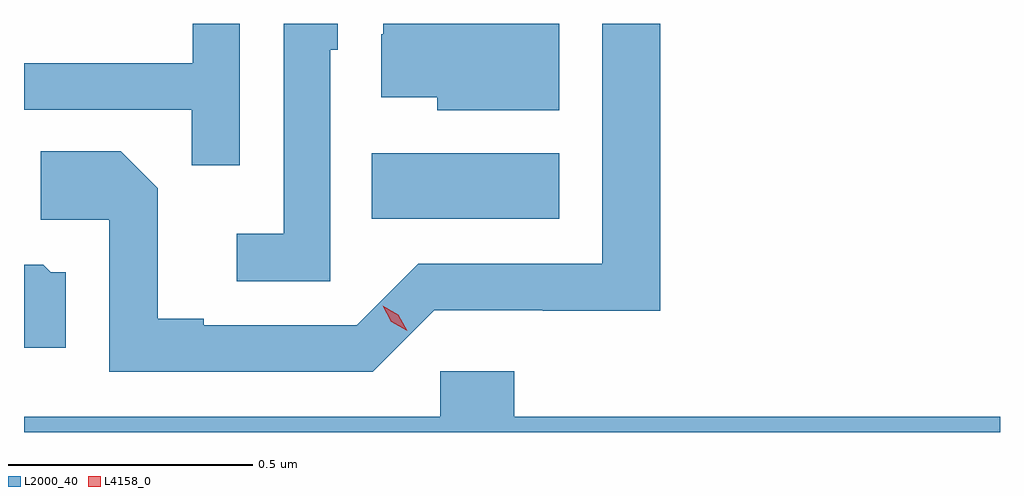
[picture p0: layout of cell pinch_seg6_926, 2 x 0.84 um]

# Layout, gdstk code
import gdstk
lib = gdstk.Library(unit=1e-6, precision=1e-09)
def R(c, l, rs):  # rectangles x0, y0, x1, y1
    for r in rs: c.add(gdstk.rectangle(r[:2], r[2:], *l))
def P(c, l, *ps):  # polygons
    for p in ps: c.add(gdstk.Polygon(p, *l))
L2000_40 = (2000, 40)
L4158_0 = (4158, 0)

pinch_seg6_926 = lib.new_cell('pinch_seg6_926')
R(pinch_seg6_926, L2000_40, [(122.272,915.938,122.656,916.072)])
P(pinch_seg6_926, L2000_40, [(122.001,916.338),(121.905,916.338),(121.905,916.257),(121.559,916.257),(121.559,916.161),(121.903,916.161),(121.903,916.048),(122.001,916.048)],
  [(122.656,916.338),(122.295,916.338),(122.295,916.316),(122.291,916.316),(122.291,916.187),(122.406,916.187),(122.406,916.16),(122.656,916.16)],
  [(122.4,915.75),(122.622,915.75),(122.622,915.749),(122.863,915.749),(122.863,916.338),(122.744,916.338),(122.744,915.846),(122.367,915.846),(122.241,915.72),(121.927,915.72),(121.927,915.733),(121.833,915.733),(121.833,916),(121.757,916.076),(121.593,916.076),(121.593,915.936),(121.734,915.936),(121.734,915.624),(122.274,915.624)],
  [(122.187,916.284),(122.202,916.284),(122.202,916.338),(122.091,916.338),(122.091,915.907),(121.995,915.907),(121.995,915.81),(122.187,915.81)],
  [(121.645,915.828),(121.614,915.828),(121.598,915.844),(121.559,915.844),(121.559,915.674),(121.645,915.674)],
  [(123.559,915.532),(122.564,915.532),(122.564,915.625),(122.412,915.625),(122.412,915.532),(121.559,915.532),(121.559,915.5),(123.559,915.5)])
P(pinch_seg6_926, L4158_0, [(122.344,915.708),(122.312,915.727),(122.294,915.76),(122.294,915.76),(122.294,915.76),(122.326,915.741),(122.344,915.708),(122.344,915.708)])

lib.write_gds('pinch_seg6_926.gds')
